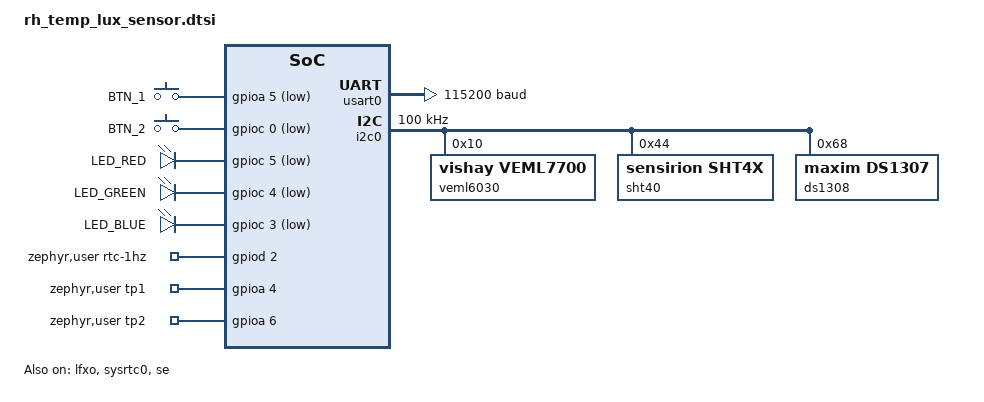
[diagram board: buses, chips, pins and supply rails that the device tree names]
#include <zephyr/dt-bindings/i2c/i2c.h>
#include <zephyr/dt-bindings/input/input-event-codes.h>
#include <zephyr/dt-bindings/regulator/silabs_dcdc.h>
#include "rh_temp_lux_sensor-pinctrl.dtsi"

/ {
	chosen {
		zephyr,code-partition = &slot0_partition;
		zephyr,console = &usart0;
		zephyr,flash = &flash0;
		zephyr,shell-uart = &usart0;
		zephyr,sram = &sram0;
		zephyr,uart-pipe = &usart0;
	};

	aliases {
		led0 = &red_led;
		led1 = &green_led;
		led2 = &blue_led;
		sw1 = &button1;
		sw2 = &button2;
		light = &veml6030;
		temp = &sht40;
		rtc = &ds1308;
	};

	/*
	 * BTN_1 (PA05) and BTN_2 (PC00) are active low and handled through
	 * GPIO external interrupts by the gpio-keys driver.
	 */
	buttons {
		compatible = "gpio-keys";

		button1: button_1 {
			label = "BTN_1";
			gpios = <&gpioa 5 (GPIO_ACTIVE_LOW)>;
			zephyr,code = <INPUT_KEY_0>;
		};

		button2: button_2 {
			label = "BTN_2";
			gpios = <&gpioc 0 (GPIO_ACTIVE_LOW)>;
			zephyr,code = <INPUT_KEY_1>;
		};
	};

	/* Active low (common anode) RGB LED */
	leds {
		compatible = "gpio-leds";

		red_led: led_red {
			label = "LED_RED";
			gpios = <&gpioc 5 GPIO_ACTIVE_LOW>;
		};

		green_led: led_green {
			label = "LED_GREEN";
			gpios = <&gpioc 4 GPIO_ACTIVE_LOW>;
		};

		blue_led: led_blue {
			label = "LED_BLUE";
			gpios = <&gpioc 3 GPIO_ACTIVE_LOW>;
		};
	};

	zephyr,user {
		/* 1 Hz square wave from the DS1308 SQW/OUT pin (open drain) */
		rtc-1hz-gpios = <&gpiod 2 (GPIO_ACTIVE_HIGH | GPIO_PULL_UP)>;
		/* Test points */
		tp1-gpios = <&gpioa 4 GPIO_ACTIVE_HIGH>;
		tp2-gpios = <&gpioa 6 GPIO_ACTIVE_HIGH>;
	};
};

&cpu0 {
	clock-frequency = <DT_FREQ_M(78)>;
};

&dcdc {
	regulator-boot-on;
	regulator-initial-mode = <SILABS_DCDC_MODE_BUCK>;
	status = "okay";
};

&hfrcodpll {
	clock-frequency = <DT_FREQ_M(78)>;
	clocks = <&hfxo>;
	dpll-autorecover;
	dpll-edge = "fall";
	dpll-lock = "phase";
	dpll-m = <1919>;
	dpll-n = <3839>;
};

/* 32.768 kHz crystal X1 on PD00/PD01 */
&lfxo {
	ctune = <25>;
	precision = <50>;
	status = "okay";
};

&em23grpaclk {
	clocks = <&lfxo>;
};

&em4grpaclk {
	clocks = <&lfxo>;
};

&lcdclk {
	clocks = <&lfxo>;
};

&sysrtcclk {
	clocks = <&lfxo>;
};

/* Debug UART */
&usart0 {
	current-speed = <115200>;
	pinctrl-0 = <&usart0_default>;
	pinctrl-names = "default";
	status = "okay";
};

&i2c0 {
	pinctrl-0 = <&i2c0_default>;
	pinctrl-names = "default";
	clock-frequency = <I2C_BITRATE_STANDARD>;
	status = "okay";

	/* VEML6030 ambient light sensor (ADDR pin low -> 0x10), VEML7700 compatible */
	veml6030: veml6030@10 {
		compatible = "vishay,veml7700";
		reg = <0x10>;
		status = "okay";
	};

	/* SHT40I-AD1B humidity and temperature sensor */
	sht40: sht40@44 {
		compatible = "sensirion,sht4x";
		reg = <0x44>;
		repeatability = <2>;
		status = "okay";
	};

	/* DS1308 RTC, register compatible with the DS1307 */
	ds1308: ds1308@68 {
		compatible = "maxim,ds1307";
		reg = <0x68>;
		sqw-frequency = <1>;
		status = "okay";
	};
};

&gpio {
	status = "okay";
};

&gpioa {
	status = "okay";
};

&gpiob {
	status = "okay";
};

&gpioc {
	status = "okay";
};

&gpiod {
	status = "okay";
};

&sysrtc0 {
	status = "okay";
};

&se {
	status = "okay";
};

&flash0 {
	partitions {
		compatible = "fixed-partitions";
		#address-cells = <1>;
		#size-cells = <1>;

		/* Reserve 48 KiB for the bootloader */
		boot_partition: partition@0 {
			reg = <0x00000000 DT_SIZE_K(48)>;
			label = "mcuboot";
			read-only;
		};

		/* Reserve 1560 KiB for the application in slot 0 */
		slot0_partition: partition@c000 {
			reg = <0x0000c000 DT_SIZE_K(1560)>;
			label = "image-0";
		};

		/* Reserve 1560 KiB for the application in slot 1 */
		slot1_partition: partition@192000 {
			reg = <0x00192000 DT_SIZE_K(1560)>;
			label = "image-1";
		};

		/* Set 32 KiB of storage at the end of the 3200 KiB of flash */
		storage_partition: partition@318000 {
			reg = <0x00318000 DT_SIZE_K(32)>;
			label = "storage";
		};
	};
};
